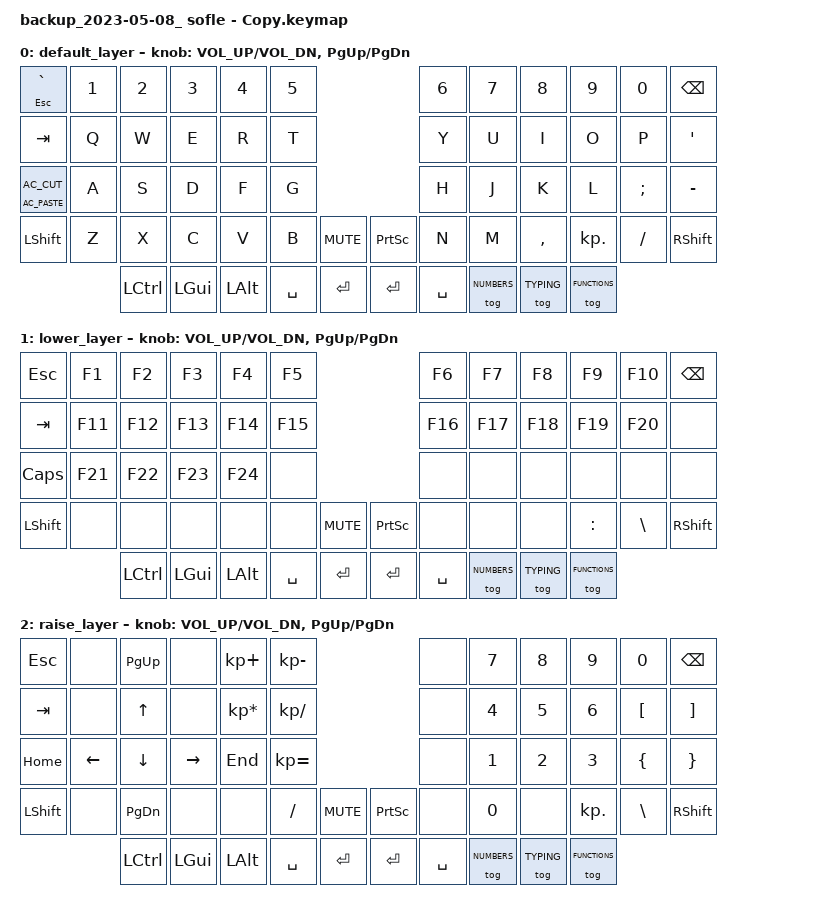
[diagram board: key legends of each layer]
/*
 * Copyright (c) 2020 The ZMK Contributors
 *
 * SPDX-License-Identifier: MIT
 * For FINAL CONFIG: sensor-bindings = <&inc_dec_kp C_VOL_UP C_VOL_DN>;
 * For Bluetooth: #include <dt-bindings/zmk/outputs.h>
 * Use "&out OUT_TOG" to cycle through typing via bluetooth vs via USB when plugged into random power source. 
 */

#include <behaviors.dtsi>
#include <dt-bindings/zmk/keys.h>
#include <dt-bindings/zmk/bt.h>
#include <dt-bindings/zmk/outputs.h>

#define TYPING 0
#define NUMBERS 1
#define FUNCTIONS 2


/ {
    keymap {
        compatible = "zmk,keymap";

        default_layer {
// .----------------------------------------.												.--------------------------------------------------.
// |  ESC `|  1  |  2  |  3   |  4   |  5   |												|  6  	 |  7    |  8   |  9   |   0   | Backspace |
// |  TAB  |  Q  |  W  |  E   |  R   |  T   |												|  Y  	 |  U    |  I   |  O   |   P   |     "     |
// |  C&P  |  A  |  S  |  D   |  F   |  G   |-------.								.-------|  H  	 |  J    |  K   |  L   |   ;   |     -     |
// | SHIFT |  Z  |  X  |  C   |  V   |  B   | Mute  |								| PSCRN |  N  	 |  M    |  ,   |  .   |   ?   |   SHIFT   |
// .-------------|CTRL | GUI  | ALT	 | SPACE| Enter |								| Enter | Space  | ###	 | KEYS | FNs  |-------------------.
            bindings = <
&mt ESC GRAVE 		  		&kp N1	&kp N2		&kp N3	 &kp N4		&kp N5								&kp N6		&kp N7			&kp N8			&kp N9			&kp N0			&kp BSPC
&kp TAB   			  		&kp Q	&kp W		&kp E	 &kp R		&kp T								&kp Y		&kp U			&kp I			&kp O			&kp P			&kp SINGLE_QUOTE
&mt C_AC_PASTE C_AC_CUT		&kp A	&kp S		&kp D	 &kp F		&kp G								&kp H		&kp J			&kp K			&kp L			&kp SEMICOLON	&kp MINUS
&kp LSHFT             		&kp Z	&kp X		&kp C	 &kp V		&kp B	&kp C_MUTE		&kp PSCRN	&kp N		&kp M			&kp COMMA	&kp KP_DOT		&kp SLASH		&kp RSHFT
									&kp LCTRL	&kp LGUI &kp LALT	&kp SPACE &kp ENTER		&kp ENTER	&kp SPACE	&tog NUMBERS	&tog TYPING		&tog FUNCTIONS
            >;
			sensor-bindings = <&inc_dec_kp C_VOL_UP C_VOL_DN &inc_dec_kp PG_UP PG_DN>;
        }; 
		
		
        lower_layer {
// TODO: Some binds are waiting for shifted keycode support.
// .----------------------------------------.													.---------------------------------------------------.
// | ESC   | F1  | F2  | F3   | F4   |  F5  |													|  F6   |  F7   |  F8   |  F9   |  F10  | Backspace |
// | TAB   | F11 | F12 | F13  | F14  |  F15 |													|  F16  |  F17  |  F18  |  F19  |  F20  |			|
// | CAPS  | F21 | F22 | F23  | F24  |      |-------.									.-------|      	|       |       |       |       |			|
// | SHIFT |     |     |      |      |      | Mute  |									| PSCRN |       |       |       |       |       |	RSHIFT	|
// .-------------|CTRL | GUI  | ALT	 | SPACE| Enter |									| Enter | Space | ###	 | KEYS |  FNs  |-------------------.
            bindings = <
&kp ESC     &kp F1    &kp F2    &kp F3		&kp F4		&kp F5										&kp F6		&kp F7   	&kp F8			&kp F9		&kp F10		&kp BSPC
&kp TAB     &kp F11   &kp F12   &kp F13		&kp F14		&kp F15										&kp F16		&kp F17   	&kp F18			&kp F19		&kp F20		&none
&kp CAPS	&kp F21   &kp F22   &kp F23		&kp F24		&none										&none		&none	 	&none			&none		&none		&none
&kp LSHIFT  &none     &none     &none		&none		&none		&kp C_MUTE			&kp PSCRN	&none		&none 		&none			&kp COLON	&kp BSLH	&kp RSHFT
                      &kp LCTRL	&kp LGUI 	&kp LALT	&kp SPACE	&kp ENTER			&kp ENTER	&kp SPACE	&tog NUMBERS	&tog TYPING	&tog FUNCTIONS
            >;
            sensor-bindings = <&inc_dec_kp C_VOL_UP C_VOL_DN &inc_dec_kp PG_UP PG_DN>;
        };

        raise_layer {
// .-------------------------------------------.															.-----------------------------------------------.
// | ESC |       | PG UP|       |  + 	| -	   |         											        |      |  7   |  8   |  9   |   0   | Backspace |
// | TAB |       |   ^  |       |  *    | /    |         											        | 	   |  4   |  5   |  6   |       |           |
// | HOME| <--   |   v  |  -->  | END   | =    |-------. 											.-------|  	   |  1   |  3   |  3   |       |           |
// |SHIFT|       | PG DN|       |       | / ?  | Mute  | 											| PSCRN |      |  0   |  ,   |  .   |   \   | RSHIFT    |
// .-------------| CTRL |  GUI  | ALT   |SPACE | Enter | 											| Enter | Space| ###  | KEYS | FNs  |-------------------.
            bindings = <
&kp ESC 	  &none    &kp PAGE_UP		&none		&kp KP_PLUS		&kp KP_MINUS    							&none     	&kp N7			&kp N8		&kp N9			&kp N0  			&kp BSPC
&kp TAB       &none    &kp UP			&none		&kp KP_MULTIPLY &kp KP_DIVIDE   							&none 		&kp N4			&kp N5		&kp N6			&kp LEFT_BRACKET	&kp RIGHT_BRACKET
&kp HOME      &kp LEFT &kp DOWN			&kp RIGHT	&kp END			&kp KP_EQUAL								&none 		&kp N1			&kp N2		&kp N3			&kp LEFT_BRACE 		&kp RIGHT_BRACE
&kp LSHIFT    &none    &kp PAGE_DOWN	&none		&none			&kp SLASH	&kp C_MUTE			&kp PSCRN	&none    	&kp N0			&none		&kp KP_DOT		&kp BACKSLASH 		&kp RSHFT
					   &kp LCTRL 		&kp LGUI	&kp LALT		&kp SPACE	&kp ENTER			&kp ENTER	&kp SPACE	&tog NUMBERS	&tog TYPING	&tog FUNCTIONS
            >;
            sensor-bindings = <&inc_dec_kp C_VOL_UP C_VOL_DN &inc_dec_kp PG_UP PG_DN>;
        };

    };
};
